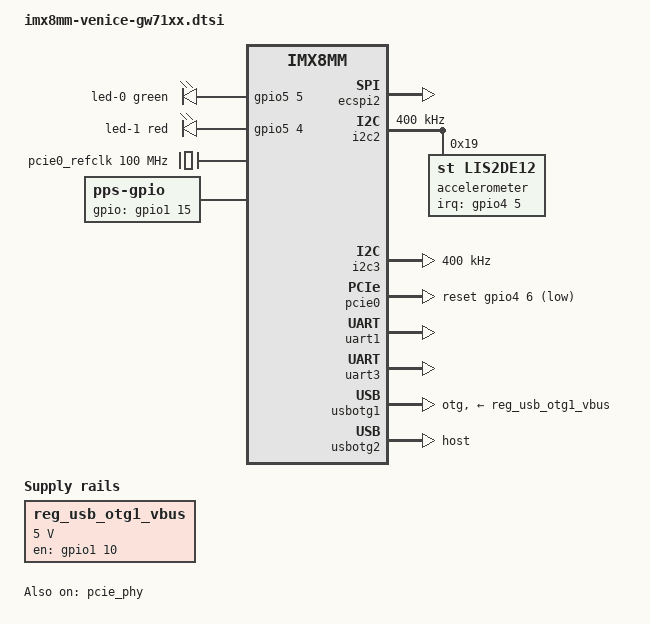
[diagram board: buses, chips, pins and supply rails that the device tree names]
// SPDX-License-Identifier: (GPL-2.0+ OR MIT)
/*
 * Copyright 2020 Gateworks Corporation
 */

#include <dt-bindings/gpio/gpio.h>
#include <dt-bindings/leds/common.h>
#include <dt-bindings/phy/phy-imx8-pcie.h>

/ {
	aliases {
		usb0 = &usbotg1;
		usb1 = &usbotg2;
	};

	led-controller {
		compatible = "gpio-leds";
		pinctrl-names = "default";
		pinctrl-0 = <&pinctrl_gpio_leds>;

		led-0 {
			function = LED_FUNCTION_STATUS;
			color = <LED_COLOR_ID_GREEN>;
			gpios = <&gpio5 5 GPIO_ACTIVE_HIGH>;
			default-state = "on";
			linux,default-trigger = "heartbeat";
		};

		led-1 {
			function = LED_FUNCTION_STATUS;
			color = <LED_COLOR_ID_RED>;
			gpios = <&gpio5 4 GPIO_ACTIVE_HIGH>;
			default-state = "off";
		};
	};

	pcie0_refclk: pcie0-refclk {
		compatible = "fixed-clock";
		#clock-cells = <0>;
		clock-frequency = <100000000>;
	};

	pps {
		compatible = "pps-gpio";
		pinctrl-names = "default";
		pinctrl-0 = <&pinctrl_pps>;
		gpios = <&gpio1 15 GPIO_ACTIVE_HIGH>;
		status = "okay";
	};

	reg_usb_otg1_vbus: regulator-usb-otg1 {
		pinctrl-names = "default";
		pinctrl-0 = <&pinctrl_reg_usb1_en>;
		compatible = "regulator-fixed";
		regulator-name = "usb_otg1_vbus";
		gpio = <&gpio1 10 GPIO_ACTIVE_HIGH>;
		enable-active-high;
		regulator-min-microvolt = <5000000>;
		regulator-max-microvolt = <5000000>;
	};
};

/* off-board header */
&ecspi2 {
	pinctrl-names = "default";
	pinctrl-0 = <&pinctrl_spi2>;
	cs-gpios = <&gpio5 13 GPIO_ACTIVE_LOW>;
	status = "okay";
};

&gpio1 {
	gpio-line-names = "", "", "", "", "", "", "pci_usb_sel", "dio0",
		"", "dio1", "", "", "", "", "", "",
		"", "", "", "", "", "", "", "",
		"", "", "", "", "", "", "", "";
};

&gpio4 {
	gpio-line-names = "", "", "", "dio2", "dio3", "", "", "pci_wdis#",
		"", "", "", "", "", "", "", "",
		"", "", "", "", "", "", "", "",
		"", "", "", "", "", "", "", "";
};

&i2c2 {
	clock-frequency = <400000>;
	pinctrl-names = "default";
	pinctrl-0 = <&pinctrl_i2c2>;
	status = "okay";

	accelerometer@19 {
		pinctrl-names = "default";
		pinctrl-0 = <&pinctrl_accel>;
		compatible = "st,lis2de12";
		reg = <0x19>;
		st,drdy-int-pin = <1>;
		interrupt-parent = <&gpio4>;
		interrupts = <5 IRQ_TYPE_LEVEL_LOW>;
		interrupt-names = "INT1";
	};
};

/* off-board header */
&i2c3 {
	clock-frequency = <400000>;
	pinctrl-names = "default";
	pinctrl-0 = <&pinctrl_i2c3>;
	status = "okay";
};

&pcie_phy {
	fsl,refclk-pad-mode = <IMX8_PCIE_REFCLK_PAD_INPUT>;
	fsl,clkreq-unsupported;
	clocks = <&pcie0_refclk>;
	clock-names = "ref";
	status = "okay";
};

&pcie0 {
	pinctrl-names = "default";
	pinctrl-0 = <&pinctrl_pcie0>;
	reset-gpio = <&gpio4 6 GPIO_ACTIVE_LOW>;
	clocks = <&clk IMX8MM_CLK_PCIE1_ROOT>, <&pcie0_refclk>,
		 <&clk IMX8MM_CLK_PCIE1_AUX>;
	assigned-clocks = <&clk IMX8MM_CLK_PCIE1_AUX>,
			  <&clk IMX8MM_CLK_PCIE1_CTRL>;
	assigned-clock-rates = <10000000>, <250000000>;
	assigned-clock-parents = <&clk IMX8MM_SYS_PLL2_50M>,
				 <&clk IMX8MM_SYS_PLL2_250M>;
	status = "okay";
};

/* GPS */
&uart1 {
	pinctrl-names = "default";
	pinctrl-0 = <&pinctrl_uart1>;
	status = "okay";
};

/* off-board header */
&uart3 {
	pinctrl-names = "default";
	pinctrl-0 = <&pinctrl_uart3>;
	status = "okay";
};

&usbotg1 {
	dr_mode = "otg";
	over-current-active-low;
	vbus-supply = <&reg_usb_otg1_vbus>;
	status = "okay";
};

&usbotg2 {
	dr_mode = "host";
	disable-over-current;
	status = "okay";
};

&iomuxc {
	pinctrl-names = "default";
	pinctrl-0 = <&pinctrl_hog>;

	pinctrl_hog: hoggrp {
		fsl,pins = <
			MX8MM_IOMUXC_SPDIF_TX_GPIO5_IO3		0x40000041 /* PLUG_TEST */
			MX8MM_IOMUXC_GPIO1_IO06_GPIO1_IO6	0x40000041 /* PCI_USBSEL */
			MX8MM_IOMUXC_SAI1_RXD5_GPIO4_IO7	0x40000041 /* PCIE_WDIS# */
			MX8MM_IOMUXC_GPIO1_IO07_GPIO1_IO7	0x40000041 /* DIO0 */
			MX8MM_IOMUXC_GPIO1_IO09_GPIO1_IO9	0x40000041 /* DIO1 */
			MX8MM_IOMUXC_SAI1_RXD1_GPIO4_IO3	0x40000041 /* DIO2 */
			MX8MM_IOMUXC_SAI1_RXD2_GPIO4_IO4	0x40000041 /* DIO2 */
		>;
	};

	pinctrl_accel: accelgrp {
		fsl,pins = <
			MX8MM_IOMUXC_SAI1_RXD3_GPIO4_IO5	0x159
		>;
	};

	pinctrl_gpio_leds: gpioledgrp {
		fsl,pins = <
			MX8MM_IOMUXC_SPDIF_EXT_CLK_GPIO5_IO5	0x19
			MX8MM_IOMUXC_SPDIF_RX_GPIO5_IO4		0x19
		>;
	};

	pinctrl_i2c3: i2c3grp {
		fsl,pins = <
			MX8MM_IOMUXC_I2C3_SCL_I2C3_SCL		0x400001c3
			MX8MM_IOMUXC_I2C3_SDA_I2C3_SDA		0x400001c3
		>;
	};

	pinctrl_pcie0: pcie0grp {
		fsl,pins = <
			MX8MM_IOMUXC_SAI1_RXD4_GPIO4_IO6	0x41
		>;
	};

	pinctrl_pps: ppsgrp {
		fsl,pins = <
			MX8MM_IOMUXC_GPIO1_IO15_GPIO1_IO15	0x41
		>;
	};

	pinctrl_reg_usb1_en: regusb1grp {
		fsl,pins = <
			MX8MM_IOMUXC_GPIO1_IO10_GPIO1_IO10	0x41
			MX8MM_IOMUXC_GPIO1_IO12_GPIO1_IO12	0x141
			MX8MM_IOMUXC_GPIO1_IO13_USB1_OTG_OC	0x41
		>;
	};

	pinctrl_spi2: spi2grp {
		fsl,pins = <
			MX8MM_IOMUXC_ECSPI2_SCLK_ECSPI2_SCLK	0xd6
			MX8MM_IOMUXC_ECSPI2_MOSI_ECSPI2_MOSI	0xd6
			MX8MM_IOMUXC_ECSPI2_MISO_ECSPI2_MISO	0xd6
			MX8MM_IOMUXC_ECSPI2_SS0_GPIO5_IO13	0xd6
		>;
	};

	pinctrl_uart1: uart1grp {
		fsl,pins = <
			MX8MM_IOMUXC_UART1_RXD_UART1_DCE_RX	0x140
			MX8MM_IOMUXC_UART1_TXD_UART1_DCE_TX	0x140
		>;
	};

	pinctrl_uart3: uart3grp {
		fsl,pins = <
			MX8MM_IOMUXC_UART3_RXD_UART3_DCE_RX	0x140
			MX8MM_IOMUXC_UART3_TXD_UART3_DCE_TX	0x140
		>;
	};
};
